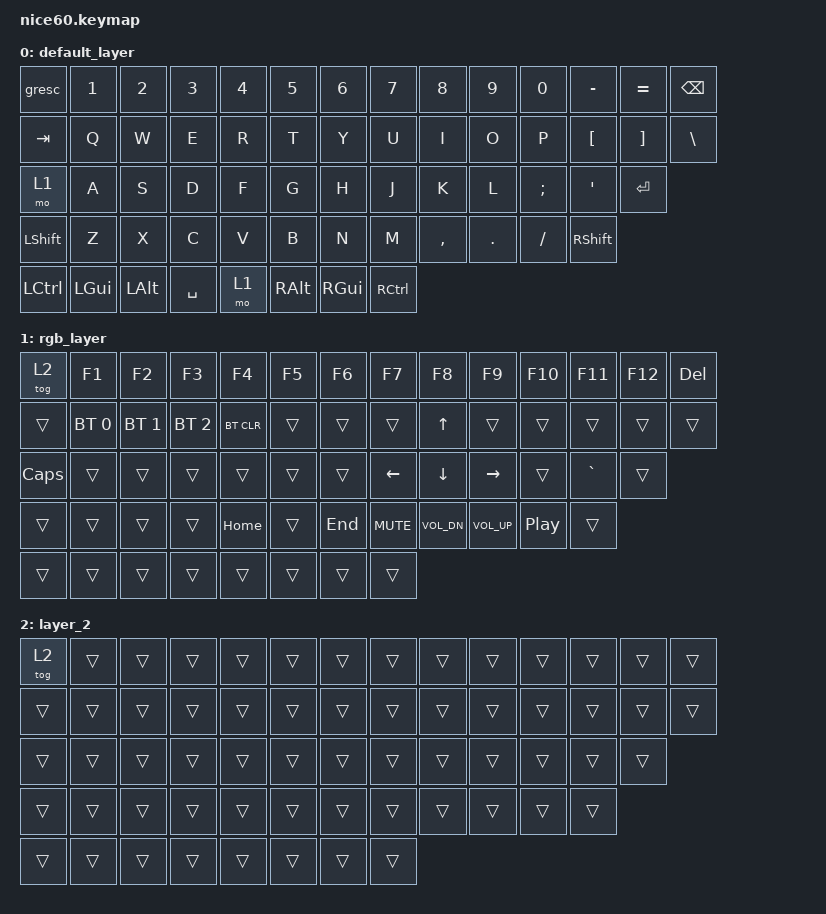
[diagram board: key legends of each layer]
/*
 * Copyright (c) 2021 Nick Winans
 *
 * SPDX-License-Identifier: MIT
 */

#include <behaviors.dtsi>
#include <dt-bindings/zmk/keys.h>
#include <dt-bindings/zmk/rgb.h>
#include <dt-bindings/zmk/bt.h>
#include <dt-bindings/zmk/outputs.h>
#include <dt-bindings/zmk/reset.h>
#include <dt-bindings/zmk/ext_power.h>

/ {
	keymap {
		compatible = "zmk,keymap";
		
		default_layer {
// ------------------------------------------------------------------------------------------
// | ESC |  1  |  2  |  3  |  4  |  5  |  6  |  7  |  8  |  9  |  0  |  -  |  =  |   BKSP   |
// | TAB  |  Q  |  W  |  E  |  R  |  T  |  Y  |  U  |  I  |  O  |  P  |  [  |  ]  |   "|"   |
// | CAPS  |  A  |  S  |  D  |  F  |  G  |  H  |  J  |  K  |  L  |  ;  |  '  |     ENTER    |
// |  SHIFT  |  Z  |  X  |  C  |  V  |  B  |  N  |  M  |  ,  |  .  |  /  |      SHIFT       |
// |  CTL  |  WIN  |  ALT  |            SPACE              |  ALT  |  WIN  |  MO(1) |  CTL  |
// ------------------------------------------------------------------------------------------
			bindings = <
	&gresc  &kp N1 &kp N2 &kp N3 &kp N4 &kp N5 &kp N6 &kp N7 &kp N8 &kp N9 &kp N0 &kp MINUS &kp EQUAL  &kp BSPC
	&kp TAB  &kp Q  &kp W  &kp E  &kp R  &kp T  &kp Y  &kp U  &kp I  &kp O  &kp P  &kp LBKT  &kp RBKT  &kp BSLH
	&mo 1  &kp A  &kp S  &kp D  &kp F  &kp G  &kp H  &kp J  &kp K  &kp L  &kp SEMI &kp SQT           &kp RET
	&kp LSHFT   &kp Z  &kp X  &kp C  &kp V  &kp B  &kp N  &kp M  &kp COMMA &kp DOT &kp FSLH           &kp RSHFT
	&kp LCTRL &kp LGUI &kp LALT             &kp SPACE                      &mo 1  &kp RALT  &kp RGUI  &kp RCTRL
			>;
		};

		rgb_layer {
// ------------------------------------------------------------------------------------------------
// | BT CLR | F1  | F2  | F3  | F4  | F5  | F6  | F7  | F8  | F9  | F10  | F11 | F12 | EFFECT REV |
// |  BT 1   |   |  UP |   | HUEUP | SATUP | BRIUP | SPDUP |   |     |    |     |     |           |
// |   BT 2   | LT |  DN  | RT | HUEDN | SATDN | BRIDN | SPDDN |   |     |   |     |  EFFECT FORW |
// |    BT 3     |     |      |      |     |     |     |     |     |     |     |                  |
// |   BT 4  |      |      |             TOG RGB                | PRT SCR |       |       |  DEL  |
// ------------------------------------------------------------------------------------------------
			bindings = <
				&tog 2 &kp F1 &kp F2 &kp F3 &kp F4 &kp F5 &kp F6 &kp F7 &kp F8 &kp F9 &kp F10 &kp F11 &kp F12 &kp DEL
				&trans &bt BT_SEL 0 &bt BT_SEL 1 &bt BT_SEL 2 &bt BT_CLR &trans &trans &trans &kp UP &trans &trans &trans &trans &trans 
				&kp CLCK &trans &trans &trans &trans &trans &trans &kp LEFT &kp DOWN &kp RIGHT &trans  &kp GRAVE   &trans
				&trans &trans &trans &trans &kp HOME &trans &kp END &kp C_MUTE &kp C_VOL_DN &kp C_VOL_UP &kp C_PP  &trans
				&trans &trans &trans              &trans                            &trans   &trans   &trans &trans
			>;
		};
		
		layer_2 {
			bindings = <
				&tog 2 &trans &trans &trans &trans &trans &trans &trans &trans &trans &trans &trans &trans &trans
				&trans &trans &trans &trans &trans &trans &trans &trans &trans &trans &trans &trans &trans &trans
				&trans &trans &trans &trans &trans &trans &trans &trans &trans &trans &trans &trans &trans
				&trans &trans &trans &trans &trans &trans &trans &trans &trans &trans &trans &trans
				&trans &trans &trans &trans &trans &trans &trans &trans
			>;
		}
	};
};
